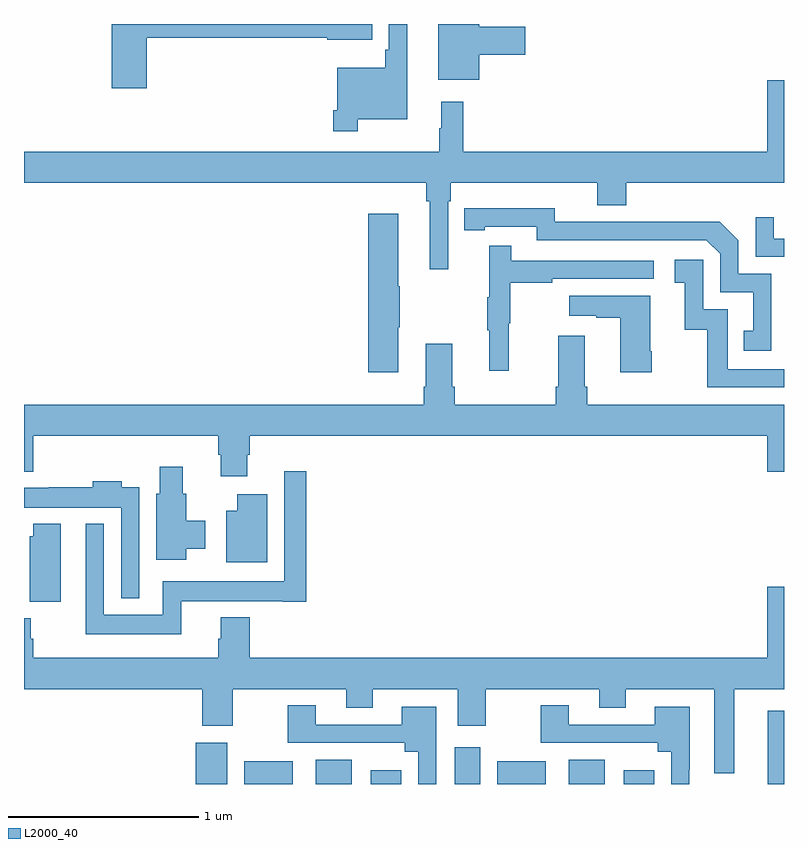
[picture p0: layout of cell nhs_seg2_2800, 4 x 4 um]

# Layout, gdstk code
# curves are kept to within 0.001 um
import gdstk
lib = gdstk.Library(unit=1e-6, precision=1e-09)
def R(c, l, rs):  # rectangles x0, y0, x1, y1
    for r in rs: c.add(gdstk.rectangle(r[:2], r[2:], *l))
def P(c, l, *ps):  # polygons
    for p in ps: c.add(gdstk.Polygon(p, *l))
L2000_40 = (2000, 40)

nhs_seg2_2800 = lib.new_cell('nhs_seg2_2800')
R(nhs_seg2_2800, L2000_40, [(257.903,649.8,258.07,650.017), (258.158,649.8,258.415,649.921), (258.536,649.8,258.724,649.927), (258.824,649.8,258.985,649.873), (259.268,649.8,259.402,649.993), (259.49,649.8,259.747,649.921), (259.868,649.8,260.056,649.927), (260.156,649.8,260.317,649.873), (260.915,649.8,261,650.185)])
P(nhs_seg2_2800, L2000_40, [(258.757,653.3),(259.018,653.3),(259.018,653.8),(258.921,653.8),(258.921,653.665),(258.901,653.665),(258.901,653.569),(258.648,653.569),(258.648,653.347),(258.628,653.347),(258.628,653.235),(258.757,653.235)],
  [(259.396,653.639),(259.639,653.639),(259.639,653.786),(259.396,653.786),(259.396,653.8),(259.181,653.8),(259.181,653.507),(259.396,653.507)],
  [(257.645,653.728),(258.596,653.728),(258.596,653.717),(258.832,653.717),(258.832,653.8),(257.462,653.8),(257.462,653.463),(257.645,653.463)],
  [(259.233,652.868),(259.247,652.868),(259.247,652.964),(260.018,652.964),(260.018,652.847),(260.171,652.847),(260.171,652.964),(261,652.964),(261,653.503),(260.912,653.503),(260.912,653.128),(259.313,653.128),(259.313,653.392),(259.196,653.392),(259.196,653.252),(259.185,653.252),(259.185,653.128),(257,653.128),(257,652.964),(259.117,652.964),(259.117,652.868),(259.136,652.868),(259.136,652.509),(259.233,652.509)],
  [(260.934,652.485),(260.76,652.485),(260.76,652.662),(260.662,652.76),(260.254,652.76),(260.254,652.758),(259.794,652.758),(259.794,652.831),(259.318,652.83),(259.318,652.714),(259.426,652.714),(259.426,652.734),(259.698,652.734),(259.698,652.662),(260.592,652.662),(260.664,652.59),(260.664,652.389),(260.837,652.389),(260.837,652.185),(260.788,652.185),(260.788,652.08),(260.934,652.08)],
  [(258.97,652.204),(258.978,652.204),(258.978,652.421),(258.97,652.421),(258.97,652.801),(258.812,652.801),(258.812,651.966),(258.97,651.966)],
  [(261,652.671),(260.947,652.671),(260.947,652.783),(260.85,652.783),(260.85,652.575),(261,652.575)],
  [(259.55,652.224),(259.558,652.224),(259.558,652.438),(259.781,652.438),(259.781,652.458),(260.314,652.458),(260.314,652.554),(259.565,652.554),(259.565,652.633),(259.448,652.633),(259.448,652.361),(259.437,652.361),(259.437,652.187),(259.448,652.187),(259.448,651.975),(259.55,651.975)],
  [(261,651.984),(260.703,651.984),(260.703,652.299),(260.574,652.299),(260.574,652.558),(260.424,652.558),(260.424,652.437),(260.477,652.437),(260.477,652.191),(260.595,652.191),(260.595,651.888),(261,651.888)],
  [(260.304,652.078),(260.296,652.078),(260.296,652.369),(259.869,652.369),(259.869,652.265),(260.012,652.265),(260.012,652.255),(260.138,652.255),(260.138,651.966),(260.304,651.966)],
  [(258.175,651.534),(258.188,651.534),(258.188,651.632),(260.912,651.632),(260.912,651.444),(261,651.444),(261,651.796),(259.964,651.796),(259.964,651.892),(259.951,651.892),(259.951,652.159),(259.811,652.159),(259.811,651.892),(259.799,651.892),(259.799,651.796),(259.267,651.796),(259.267,651.892),(259.255,651.892),(259.255,652.117),(259.115,652.117),(259.115,651.892),(259.103,651.892),(259.103,651.796),(257,651.796),(257,651.443),(257.048,651.443),(257.048,651.632),(258.023,651.632),(258.023,651.534),(258.035,651.534),(258.035,651.42),(258.175,651.42)],
  [(257.854,651.038),(257.953,651.038),(257.953,651.186),(257.854,651.186),(257.854,651.327),(257.836,651.327),(257.836,651.469),(257.714,651.469),(257.714,651.327),(257.696,651.327),(257.696,650.979),(257.854,650.979)],
  [(257.828,650.762),(258.362,650.762),(258.362,650.76),(258.485,650.76),(258.485,651.445),(258.369,651.445),(258.369,650.866),(257.73,650.866),(257.73,650.692),(257.421,650.692),(257.421,651.169),(257.324,651.169),(257.324,650.588),(257.828,650.588)],
  [(257.607,651.361),(257.515,651.361),(257.515,651.394),(257.363,651.394),(257.363,651.361),(257.131,651.361),(257.131,651.358),(257,651.358),(257,651.254),(257.511,651.254),(257.511,650.777),(257.607,650.777)],
  [(258.28,651.325),(258.122,651.325),(258.122,651.238),(258.065,651.238),(258.065,650.966),(258.28,650.966)],
  [(257.194,651.169),(257.048,651.169),(257.048,651.105),(257.03,651.105),(257.03,650.758),(257.194,650.758)],
  [(257,650.673),(257,650.3),(257.939,650.3),(257.939,650.106),(258.099,650.106),(258.099,650.3),(258.695,650.3),(258.695,650.201),(258.835,650.201),(258.835,650.3),(259.283,650.3),(259.283,650.106),(259.431,650.106),(259.431,650.3),(260.027,650.3),(260.027,650.201),(260.167,650.201),(260.167,650.3),(260.633,650.3),(260.633,649.856),(260.737,649.856),(260.737,650.3),(261,650.3),(261,650.839),(260.912,650.839),(260.912,650.464),(258.188,650.464),(258.188,650.677),(258.035,650.677),(258.035,650.565),(258.023,650.565),(258.023,650.464),(257.048,650.464),(257.048,650.564),(257.035,650.564),(257.035,650.673)],
  [(260.502,649.874),(260.503,649.874),(260.503,650.206),(260.321,650.206),(260.321,650.112),(259.867,650.112),(259.867,650.215),(259.72,650.215),(259.72,650.016),(260.336,650.016),(260.336,649.97),(260.406,649.97),(260.406,649.8),(260.502,649.8)],
  [(259.17,650.206),(258.989,650.206),(258.989,650.112),(258.535,650.112),(258.535,650.215),(258.388,650.215),(258.388,650.016),(259.004,650.016),(259.004,649.97),(259.074,649.97),(259.074,649.8),(259.17,649.8)])

lib.write_gds('nhs_seg2_2800.gds')
